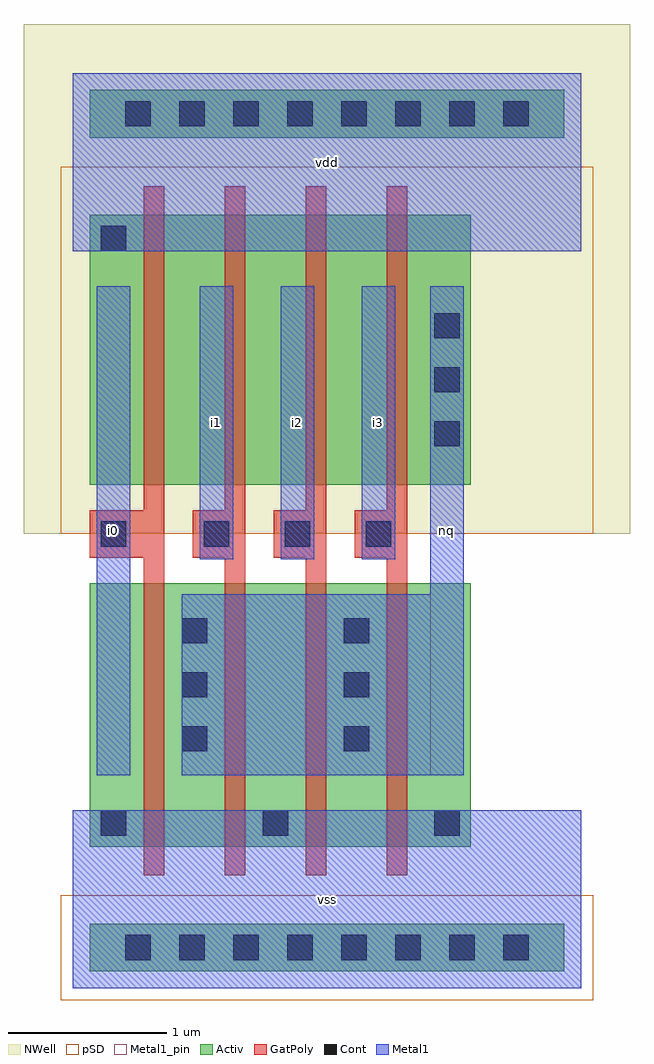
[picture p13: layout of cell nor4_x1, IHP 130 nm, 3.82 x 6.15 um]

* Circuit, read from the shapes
.subckt nor4_x1 i0 i1 i2 i3 nq vdd vss
XM1 nq i0 vss vss sg13_lv_nmos w=1.66u l=0.13u
XM2 vss i1 nq vss sg13_lv_nmos w=1.66u l=0.13u
XM3 nq i2 vss vss sg13_lv_nmos w=1.66u l=0.13u
XM4 vss i3 nq vss sg13_lv_nmos w=1.66u l=0.13u
XM5 n1 i0 vdd vdd sg13_lv_pmos w=1.7u l=0.13u
XM6 n2 i1 n1 vdd sg13_lv_pmos w=1.7u l=0.13u
XM7 n3 i2 n2 vdd sg13_lv_pmos w=1.7u l=0.13u
XM8 nq i3 n3 vdd sg13_lv_pmos w=1.7u l=0.13u
.ends

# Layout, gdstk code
import gdstk
lib = gdstk.Library(unit=1e-6, precision=1e-09)
def R(c, l, rs):  # rectangles x0, y0, x1, y1
    for r in rs: c.add(gdstk.rectangle(r[:2], r[2:], *l))
def A(c, l, x, y, w, h, nx, ny, dx, dy):  # array of equal rectangles
    R(c, l, [(x+i*dx, y+j*dy, x+i*dx+w, y+j*dy+h) for i in range(nx) for j in range(ny)])
def P(c, l, *ps):  # polygons
    for p in ps: c.add(gdstk.Polygon(p, *l))
Activ = (1, 0)
GatPoly = (5, 0)
Cont = (6, 0)
Metal1 = (8, 0)
Metal1_pin = (8, 2)
pSD = (14, 0)
NWell = (31, 0)

nor4_x1 = lib.new_cell('nor4_x1')
R(nor4_x1, Activ, [(0.105,0.105,3.095,0.405), (0.105,0.89,2.505,2.55), (0.105,3.17,2.505,4.87), (0.105,5.355,3.095,5.655)])
P(nor4_x1, GatPoly, [(0.445,0.71),(0.445,2.71),(0.105,2.71),(0.105,3.01),(0.445,3.01),(0.445,5.05),(0.575,5.05),(0.575,0.71)],
  [(0.955,0.71),(0.955,2.71),(0.755,2.71),(0.755,3.01),(0.955,3.01),(0.955,5.05),(1.085,5.05),(1.085,0.71)],
  [(1.465,0.71),(1.465,2.71),(1.265,2.71),(1.265,3.01),(1.465,3.01),(1.465,5.05),(1.595,5.05),(1.595,0.71)],
  [(1.975,0.71),(1.975,2.71),(1.775,2.71),(1.775,3.01),(1.975,3.01),(1.975,5.05),(2.105,5.05),(2.105,0.71)])
A(nor4_x1, Cont, 0.33, 0.175, 0.16, 0.16, 8, 2, 0.34, 5.25)
A(nor4_x1, Cont, 0.685, 1.49, 0.16, 0.16, 1, 3, 0, 0.34)
A(nor4_x1, Cont, 1.705, 1.49, 0.16, 0.16, 1, 3, 0, 0.34)
A(nor4_x1, Cont, 0.825, 2.78, 0.16, 0.16, 3, 1, 0.51, 0)
A(nor4_x1, Cont, 2.275, 3.41, 0.16, 0.16, 1, 3, 0, 0.34)
R(nor4_x1, Cont, [(0.175,0.96,0.335,1.12), (1.195,0.96,1.355,1.12), (2.275,0.96,2.435,1.12), (0.175,2.78,0.335,2.94), (0.175,4.64,0.335,4.8)])
A(nor4_x1, Metal1, 0.8, 2.7, 0.21, 1.72, 3, 1, 0.51, 0)
R(nor4_x1, Metal1, [(0,0,3.2,1.12), (0.15,1.34,0.36,4.42), (0,4.64,3.2,5.76)])
P(nor4_x1, Metal1, [(0.685,1.34),(0.685,2.48),(2.25,2.48),(2.25,4.42),(2.46,4.42),(2.46,1.34)])
A(nor4_x1, Metal1_pin, 0.8, 2.7, 0.21, 1.72, 3, 1, 0.51, 0)
R(nor4_x1, Metal1_pin, [(0,0,3.2,1.12), (0.15,1.34,0.36,4.42), (2.25,1.34,2.46,4.42), (0,4.64,3.2,5.76)])
R(nor4_x1, pSD, [(-0.075,-0.075,3.275,0.585), (-0.075,2.86,3.275,5.17)])
R(nor4_x1, NWell, [(-0.31,2.86,3.51,6.07)])
nor4_x1.add(gdstk.Label('vss', (1.6,0.56), layer=8, texttype=2))
nor4_x1.add(gdstk.Label('vdd', (1.6,5.2), layer=8, texttype=2))
nor4_x1.add(gdstk.Label('nq', (2.355,2.88), layer=8, texttype=2))
nor4_x1.add(gdstk.Label('i0', (0.255,2.88), layer=8, texttype=2))
nor4_x1.add(gdstk.Label('i1', (0.905,3.56), layer=8, texttype=2))
nor4_x1.add(gdstk.Label('i2', (1.415,3.56), layer=8, texttype=2))
nor4_x1.add(gdstk.Label('i3', (1.925,3.56), layer=8, texttype=2))

lib.write_gds('nor4_x1.gds')
